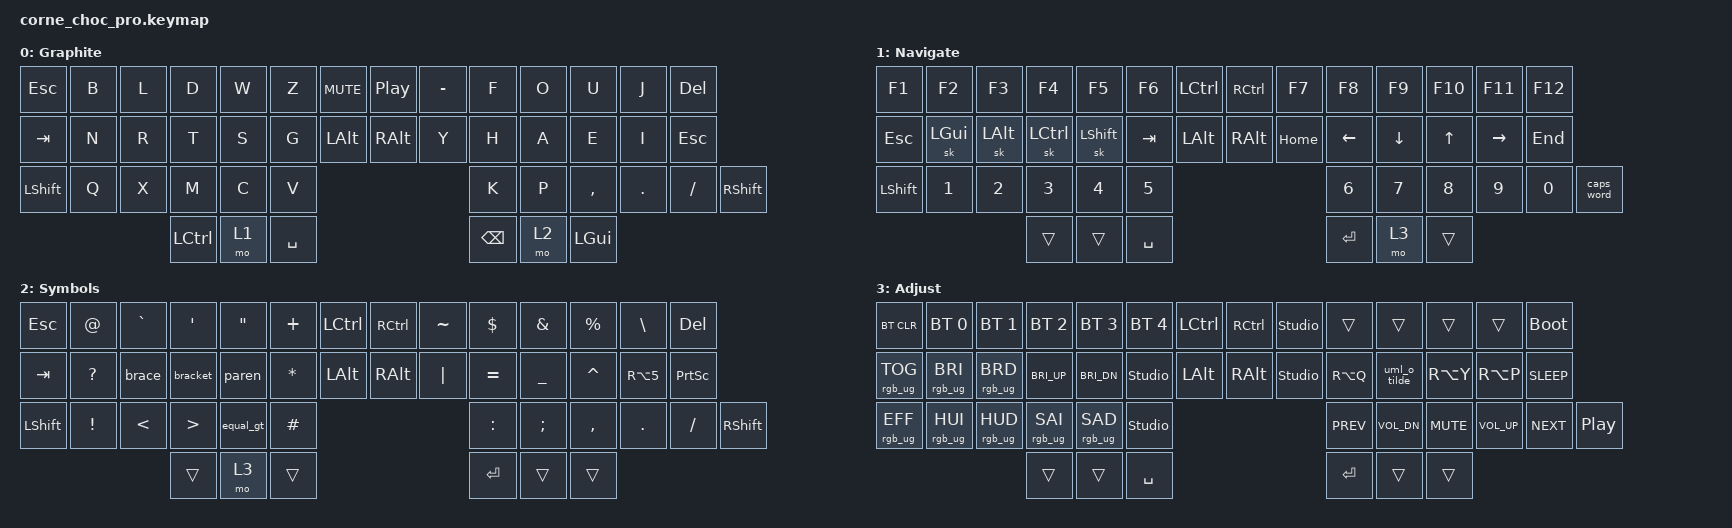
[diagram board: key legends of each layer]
/*
 * Copyright (c) 2020 The ZMK Contributors
 *
 * SPDX-License-Identifier: MIT
 */

#include <behaviors.dtsi>
#include <dt-bindings/zmk/keys.h>
#include <dt-bindings/zmk/bt.h>
#include <dt-bindings/zmk/rgb.h>

/ {
    behaviors {
        // Mod-morph for ( and ) - tap for (, shift+tap for )
        paren: paren_morph {
            compatible = "zmk,behavior-mod-morph";
            #binding-cells = <0>;
            bindings = <&kp LPAR>, <&kp RPAR>;
            mods = <(MOD_LSFT|MOD_RSFT)>;
        };
        // Mod-morph for [ and ] - tap for [, shift+tap for ]
        bracket: bracket_morph {
            compatible = "zmk,behavior-mod-morph";
            #binding-cells = <0>;
            bindings = <&kp LBKT>, <&kp RBKT>;
            mods = <(MOD_LSFT|MOD_RSFT)>;
        };
        // Mod-morph for { and } - tap for {, shift+tap for }
        brace: brace_morph {
            compatible = "zmk,behavior-mod-morph";
            #binding-cells = <0>;
            bindings = <&kp LBRC>, <&kp RBRC>;
            mods = <(MOD_LSFT|MOD_RSFT)>;
        };
    };

    macros {
        // õ via altgr-intl dead tilde: AltGr+Shift+` then O
        uml_o_tilde: uml_o_tilde {
            compatible = "zmk,behavior-macro";
            #binding-cells = <0>;
            wait-ms = <30>;
            tap-ms = <30>;
            bindings = <&macro_tap &kp RA(LS(GRAVE)) &kp O>;
        };

        equal_gt: equal_gt {
          compatible = "zmk,behavior-macro";
          #binding-cells = <0>;
          wait-ms = <30>;
          tap-ms = <30>;
          bindings = <&kp EQUAL &kp GT>;
        };
    };

    keymap {
        compatible = "zmk,keymap";

        default_layer {
            display-name = "Graphite";
            // ------------------------------------------------------------------------------------------
            // | ESC |  B  |  L  |  D  |  W  |  Z  | MUTE | PP  |  -  |  F  |  O  |  U  |  J  | DEL |
            // | TAB |  N  |  R  |  T  |  S  |  G  | LALT | RALT|  Y  |  H  |  A  |  E  |  I  |  ESC  |
            // | SHFT|  Q  |  X  |  M  |  C  |  V  |             |  K  |  P  |  ,  |  .  |  /  | SHFT|
            //                   | CTRL | L1  | SPC |             | BSPC| L2  | GUI|
            bindings = <
                &kp ESC   &kp B &kp L &kp D &kp W &kp Z     &kp C_MUTE &kp C_PP   &kp MINUS &kp F &kp O &kp U &kp J &kp DEL
                &kp TAB   &kp N &kp R &kp T &kp S &kp G     &kp LALT   &kp RALT   &kp Y &kp H &kp A &kp E &kp I &kp ESC
                &kp LSHFT &kp Q &kp X &kp M &kp C &kp V                           &kp K &kp P &kp COMMA &kp DOT &kp FSLH &kp RSHFT
                                      &kp LCTRL &mo 1 &kp SPACE                       &kp BSPC  &mo 2 &kp LGUI
            >;
        };

        navigate_layer {
            display-name = "Navigate";
            // ------------------------------------------------------------------------------------------
            // | F1  | F2  | F3  | F4  | F5  | F6  | LCTRL| RCTRL | F7   | F8   | F9   | F10 | F11  | F12 |
            // | ESC | GUI | ALT | CTRL| SHFT| TAB | LALT | RALT  | HOME | LEFT | DOWN | UP  | RIGHT| END |
            // | SHFT|  1  |  2  |  3  |  4  |  5  |              |  6   |  7   |  8   |  9  |  0   | CAP |
            //                   | CTRL | L1  | SPC |              | ENT | L3  | GUI |
            bindings = <
                &kp F1    &kp F2    &kp F3    &kp F4     &kp F5     &kp F6    &kp LCTRL &kp RCTRL &kp F7   &kp F8   &kp F9   &kp F10 &kp F11   &kp F12
                &kp ESC   &sk LGUI  &sk LALT  &sk LCTRL  &sk LSHFT  &kp TAB   &kp LALT  &kp RALT  &kp HOME &kp LEFT &kp DOWN &kp UP  &kp RIGHT &kp END
                &kp LSHFT &kp N1    &kp N2    &kp N3     &kp N4     &kp N5                        &kp N6   &kp N7   &kp N8   &kp N9  &kp N0    &caps_word
                                              &trans     &trans     &kp SPACE                     &kp RET  &mo 3    &trans
            >;
        };

        symbol_layer {
            display-name = "Symbols";
            // ------------------------------------------------------------------------------------------
            // | ESC |  @  |  `  |  '  |  "  |  +  | LCTRL| RCTRL |  ~  |  $  |  &  |  %  |  \ | DEL   |
            // | TAB |  ?  | {}  | []  | ()  |  *  | LALT | RALT  |  |  |  =  |  _  |  ^  | €  | PrScnr|
            // | SHFT|  !  |  <  |  >  |  => |  #  |              |  :  |  ;  |  ,  |  .  |  / | SHFT  |
            //                   | CTRL | L3  | SPC |              | ENT | L2  | GUI |
            bindings = <
                &kp ESC   &kp AT    &kp GRAVE &kp APOS  &kp DQT   &kp PLUS   &kp LCTRL &kp RCTRL &kp TILDE &kp DLLR  &kp AMPS  &kp PRCNT &kp BSLH   &kp DEL
                &kp TAB   &kp QMARK &brace    &bracket  &paren    &kp ASTRK  &kp LALT  &kp RALT  &kp PIPE  &kp EQUAL &kp UNDER &kp CARET &kp RA(N5) &kp PSCRN
                &kp LSHFT &kp EXCL  &kp LT    &kp GT    &equal_gt &kp HASH                       &kp COLON &kp SEMI  &kp COMMA &kp DOT   &kp FSLH   &kp RSHFT
                                              &trans  &mo 3     &trans                      &kp RET   &trans    &trans
            >;
        };

        adjust_layer {
            display-name = "Adjust";
            // ------------------------------------------------------------------------------------------
            // | BTCLR| BT0 | BT1 | BT2 | BT3 | BT4 | LCTRL| RCTRL|UNLCK|     |     |     |     | BOOT|
            // | RGBTG| RGB+| RGB-| BRI+| BRI-|UNLCK| LALT | RALT |UNLCK|  ä  |  õ  |  ü  |  ö  | SLEEP|
            // | RGBEF| HUE+| HUE-| SAT+| SAT-|UNLCK|              | PREV| VOL-| MUTE| VOL+| NEXT| PLAY|
            //                    | CTRL| L3  | SPC |              | ENT | L3  | GUI |
            bindings = <
                &bt BT_CLR      &bt BT_SEL 0 &bt BT_SEL 1 &bt BT_SEL 2 &bt BT_SEL 3 &bt BT_SEL 4    &kp LCTRL &kp RCTRL  &studio_unlock &trans &trans &trans &trans &bootloader
                &rgb_ug RGB_TOG  &rgb_ug RGB_BRI  &rgb_ug RGB_BRD  &kp C_BRI_UP     &kp C_BRI_DN     &studio_unlock  &kp LALT  &kp RALT  &studio_unlock &kp RA(Q)    &uml_o_tilde &kp RA(Y)      &kp RA(P)      &kp K_SLEEP
                &rgb_ug RGB_EFF  &rgb_ug RGB_HUI  &rgb_ug RGB_HUD  &rgb_ug RGB_SAI  &rgb_ug RGB_SAD  &studio_unlock                      &kp C_PREV     &kp C_VOL_DN &kp C_MUTE &kp C_VOL_UP   &kp C_NEXT     &kp C_PP
                                                                   &trans         &trans            &kp SPACE                          &kp RET        &trans       &trans
            >;
        };
    };
};
